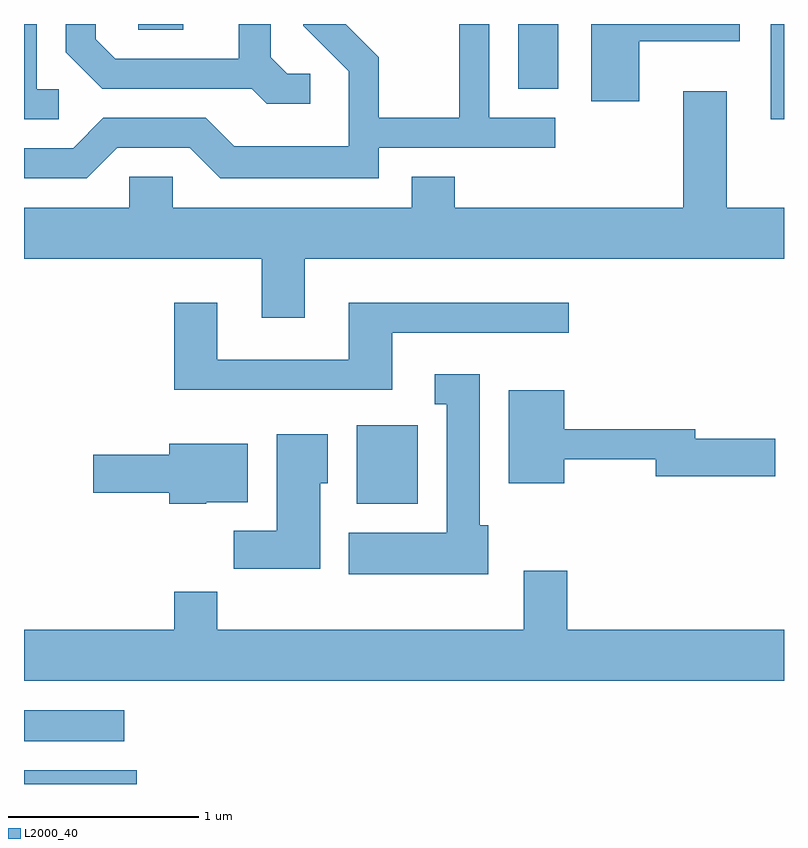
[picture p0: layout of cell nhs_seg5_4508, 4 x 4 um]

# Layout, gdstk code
import gdstk
lib = gdstk.Library(unit=1e-6, precision=1e-09)
def R(c, l, rs):  # rectangles x0, y0, x1, y1
    for r in rs: c.add(gdstk.rectangle(r[:2], r[2:], *l))
def P(c, l, *ps):  # polygons
    for p in ps: c.add(gdstk.Polygon(p, *l))
L2000_40 = (2000, 40)

nhs_seg5_4508 = lib.new_cell('nhs_seg5_4508')
R(nhs_seg5_4508, L2000_40, [(319.611,1414.072,320.204,1414.144), (319.611,1414.296,320.138,1414.459), (321.361,1415.546,321.684,1415.959), (323.541,1417.571,323.611,1418.072), (322.211,1417.731,322.424,1418.072), (320.211,1418.041,320.449,1418.072)])
P(nhs_seg5_4508, L2000_40, [(322.849,1417.981),(323.379,1417.981),(323.379,1418.072),(322.596,1418.072),(322.596,1417.666),(322.849,1417.666)],
  [(319.793,1417.729),(319.679,1417.729),(319.679,1418.072),(319.611,1418.072),(319.611,1417.571),(319.793,1417.571)],
  [(320.102,1417.421),(320.484,1417.421),(320.644,1417.261),(321.479,1417.261),(321.479,1417.421),(322.408,1417.421),(322.408,1417.579),(322.059,1417.579),(322.059,1418.072),(321.901,1418.072),(321.901,1417.579),(321.479,1417.579),(321.479,1417.897),(321.304,1418.072),(321.081,1418.072),(321.081,1418.064),(321.321,1417.824),(321.321,1417.429),(320.717,1417.429),(320.567,1417.579),(320.029,1417.579),(319.869,1417.419),(319.611,1417.419),(319.611,1417.261),(319.942,1417.261)],
  [(321.118,1417.809),(320.997,1417.809),(320.909,1417.897),(320.909,1418.072),(320.741,1418.072),(320.741,1417.889),(320.092,1417.889),(319.989,1417.992),(319.989,1418.072),(319.831,1418.072),(319.831,1417.924),(320.024,1417.731),(320.809,1417.731),(320.889,1417.651),(321.118,1417.651)],
  [(323.611,1417.104),(323.309,1417.104),(323.309,1417.719),(323.081,1417.719),(323.081,1417.104),(321.879,1417.104),(321.879,1417.269),(321.651,1417.269),(321.651,1417.104),(320.394,1417.104),(320.394,1417.269),(320.166,1417.269),(320.166,1417.104),(319.611,1417.104),(319.611,1416.836),(320.861,1416.836),(320.861,1416.526),(321.089,1416.526),(321.089,1416.836),(323.611,1416.836)],
  [(321.549,1416.446),(322.478,1416.446),(322.478,1416.604),(321.321,1416.604),(321.321,1416.304),(320.629,1416.304),(320.629,1416.604),(320.401,1416.604),(320.401,1416.146),(321.549,1416.146)],
  [(322.054,1415.434),(322.009,1415.434),(322.009,1416.229),(321.773,1416.229),(321.773,1416.071),(321.836,1416.071),(321.836,1415.394),(321.321,1415.394),(321.321,1415.176),(322.054,1415.176)],
  [(322.454,1415.781),(322.936,1415.781),(322.936,1415.691),(323.564,1415.691),(323.564,1415.889),(323.144,1415.889),(323.144,1415.939),(322.454,1415.939),(322.454,1416.144),(322.161,1416.144),(322.161,1415.656),(322.454,1415.656)],
  [(321.169,1415.656),(321.209,1415.656),(321.209,1415.914),(320.941,1415.914),(320.941,1415.404),(320.716,1415.404),(320.716,1415.206),(321.169,1415.206)],
  [(320.57,1415.556),(320.789,1415.556),(320.789,1415.864),(320.376,1415.864),(320.376,1415.804),(319.976,1415.804),(319.976,1415.606),(320.376,1415.606),(320.376,1415.546),(320.57,1415.546)],
  [(323.611,1414.884),(322.469,1414.884),(322.469,1415.194),(322.241,1415.194),(322.241,1414.884),(320.629,1414.884),(320.629,1415.084),(320.401,1415.084),(320.401,1414.884),(319.611,1414.884),(319.611,1414.616),(323.611,1414.616)])

lib.write_gds('nhs_seg5_4508.gds')
